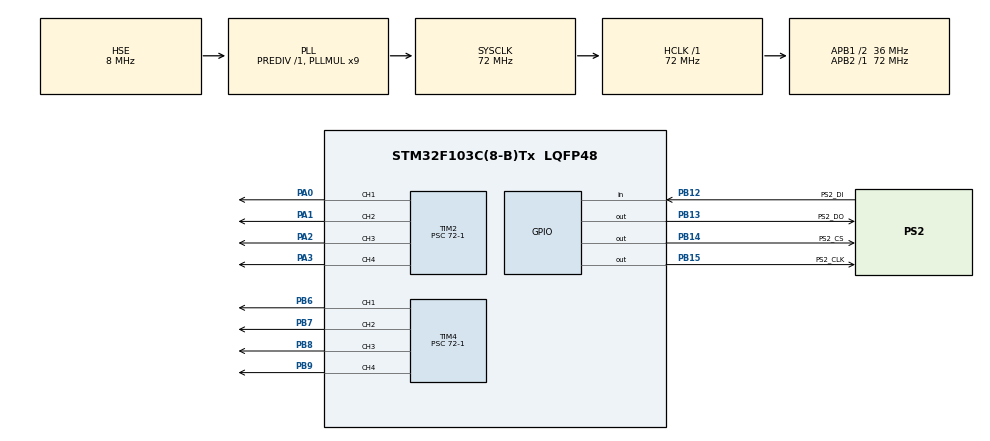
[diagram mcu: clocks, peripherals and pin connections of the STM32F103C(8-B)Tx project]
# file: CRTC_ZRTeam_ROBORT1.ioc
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Mcu.Family=STM32F1
Mcu.Name=STM32F103C(8-B)Tx
Mcu.Package=LQFP48
NVIC.PriorityGroup=NVIC_PRIORITYGROUP_4
PA0-WKUP.Signal=S_TIM2_CH1_ETR
PA1.Signal=S_TIM2_CH2
PA13.Mode=Serial_Wire
PA13.Signal=SYS_JTMS-SWDIO
PA14.Mode=Serial_Wire
PA14.Signal=SYS_JTCK-SWCLK
PA2.Signal=S_TIM2_CH3
PA3.Signal=S_TIM2_CH4
PB12.GPIO_Label=PS2_DI
PB12.GPIO_PuPd=GPIO_PULLUP
PB12.Signal=GPIO_Input
PB13.GPIO_Label=PS2_DO
PB13.Signal=GPIO_Output
PB14.GPIO_Label=PS2_CS
PB14.PinState=GPIO_PIN_SET
PB14.Signal=GPIO_Output
PB15.GPIO_Label=PS2_CLK
PB15.PinState=GPIO_PIN_SET
PB15.Signal=GPIO_Output
PB6.Signal=S_TIM4_CH1
PB7.Signal=S_TIM4_CH2
PB8.Signal=S_TIM4_CH3
PB9.Signal=S_TIM4_CH4
PD0-OSC_IN.Mode=HSE-External-Oscillator
PD0-OSC_IN.Signal=RCC_OSC_IN
PD1-OSC_OUT.Mode=HSE-External-Oscillator
PD1-OSC_OUT.Signal=RCC_OSC_OUT
ProjectManager.HeapSize=0x200
ProjectManager.StackSize=0x400
ProjectManager.TargetToolchain=CMake
RCC.AHBFreq_Value=72000000
RCC.APB1CLKDivider=RCC_HCLK_DIV2
RCC.APB1Freq_Value=36000000
RCC.APB1TimFreq_Value=72000000
RCC.APB2Freq_Value=72000000
RCC.APB2TimFreq_Value=72000000
RCC.HCLKFreq_Value=72000000
RCC.PLLMUL=RCC_PLL_MUL9
RCC.PLLSourceVirtual=RCC_PLLSOURCE_HSE
RCC.SYSCLKFreq_VALUE=72000000
RCC.SYSCLKSource=RCC_SYSCLKSOURCE_PLLCLK
RCC.USBFreq_Value=72000000
SH.S_TIM2_CH1_ETR.0=TIM2_CH1,PWM Generation1 CH1
SH.S_TIM2_CH2.0=TIM2_CH2,PWM Generation2 CH2
SH.S_TIM2_CH3.0=TIM2_CH3,PWM Generation3 CH3
SH.S_TIM2_CH4.0=TIM2_CH4,PWM Generation4 CH4
SH.S_TIM4_CH1.0=TIM4_CH1,PWM Generation1 CH1
SH.S_TIM4_CH2.0=TIM4_CH2,PWM Generation2 CH2
SH.S_TIM4_CH3.0=TIM4_CH3,PWM Generation3 CH3
SH.S_TIM4_CH4.0=TIM4_CH4,PWM Generation4 CH4
TIM2.Channel-PWM\ Generation1\ CH1=TIM_CHANNEL_1
TIM2.Channel-PWM\ Generation2\ CH2=TIM_CHANNEL_2
TIM2.Channel-PWM\ Generation3\ CH3=TIM_CHANNEL_3
TIM2.Channel-PWM\ Generation4\ CH4=TIM_CHANNEL_4
TIM2.Prescaler=72-1
TIM4.Channel-PWM\ Generation1\ CH1=TIM_CHANNEL_1
TIM4.Channel-PWM\ Generation2\ CH2=TIM_CHANNEL_2
TIM4.Channel-PWM\ Generation3\ CH3=TIM_CHANNEL_3
TIM4.Channel-PWM\ Generation4\ CH4=TIM_CHANNEL_4
TIM4.Prescaler=72-1
VP_TIM2_VS_ClockSourceINT.Mode=Internal
VP_TIM4_VS_ClockSourceINT.Mode=Internal
board=custom

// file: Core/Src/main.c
/* USER CODE BEGIN Header */
/**
  ******************************************************************************
  * @file           : main.c
  * @brief          : Main program body
  ******************************************************************************
  * @attention
  *
  * Copyright (c) 2026 STMicroelectronics.
  * All rights reserved.
  *
  * This software is licensed under terms that can be found in the LICENSE file
  * in the root directory of this software component.
  * If no LICENSE file comes with this software, it is provided AS-IS.
  *
  ******************************************************************************
  */
/* USER CODE END Header */
#include "main.h"
#include "tim.h"
#include "gpio.h"

/* USER CODE BEGIN Includes */
#include "ps2.h"
#include "motor.h"
#include "rc.h"
#include "control.h"
#include "led.h"
#include "servo.h"
#include "watchdog.h"
/* USER CODE END Includes */

/* USER CODE BEGIN PD */
/* 诊断开关：置 1 则上电时用慢速 LED(PA8) 闪码显示"上次复位原因"（不接调试器也能看）。
 *   闪 1 次 = 只有 PINRSTF          -> 复位脚(NRST)被干扰拉低（EMI，电源没问题）
 *   闪 2 次 = PORRSTF 且无 PIN      -> 上电/欠压类（供电被切断/塌陷）
 *   闪 3 次 = PIN + SFTRSTF         -> 调试器/烧录器发起的复位（正常，不是故障）
 *   闪 4 次 = POR + PIN             -> 断电式复位（既掉电又过复位脚）
 *   闪 5 次 = 其它（未知组合）
 *   闪 6 次 = IWDGRSTF 独立看门狗   -> **程序卡死超过 1 秒**（软件问题，不是供电！）
 *   闪 7 次 = WWDG 窗口看门狗
 * 每次开机闪 BOOT_RESET_CAUSE_BLINK_ROUNDS 遍，每遍之间停 BOOT_RESET_CAUSE_BLINK_GAP_MS 毫秒；
 * ⭐ 目前为 0（已关闭）：正常使用时不闪灯、上电不额外等待。
 *    以后要排查复位原因时改成 1 即可（g_reset_cause 的锁存逻辑一直保留，调试器仍可 Watch）。 */
#define BOOT_RESET_CAUSE_BLINK  0
/* 开机闪码重复遍数（3 轮，方便数清楚） */
#define BOOT_RESET_CAUSE_BLINK_ROUNDS  3
/* 每轮之间的间隔（ms）：1.5 秒，足够分清"一组闪完"和"下一组开始" */
#define BOOT_RESET_CAUSE_BLINK_GAP_MS  1500
/* USER CODE END PD */

/* USER CODE BEGIN PV */
/* 上次复位原因（RCC->CSR 的复位标志位），调试器里 Watch 这个变量即可。
 * 0x08000000=PORRSTF 上电/欠压类  0x04000000=PINRSTF 复位脚(NRST)被拉低(干扰)
 * 0x10000000=SFTRSTF 软件复位    0x20000000=IWDGRSTF 独立看门狗
 * 上电首次通常为 0x0C000000（POR + PIN 同时置位） */
volatile uint32_t g_reset_cause;
/* USER CODE END PV */

void SystemClock_Config(void);

int main(void)
{

  /* USER CODE BEGIN 1 */
  /* 锁存"上次复位原因"再清除标志：RCC->CSR 的复位标志只能软件清，
   * 本工程其它地方都不清，所以必须在这里"先读后清"，否则上电那次 POR 标志会一直留着、
   * 后面任何复位都读不出真实原因。清完后，下一次复位的标志就会被下次启动准确捕获。 */
  g_reset_cause = (uint32_t)(RCC->CSR & 0xFE000000u);
  __HAL_RCC_CLEAR_RESET_FLAGS();
  /* USER CODE END 1 */

  /* MCU Configuration--------------------------------------------------------*/

  /* Reset of all peripherals, Initializes the Flash interface and the Systick. */
  HAL_Init();

  /* USER CODE BEGIN Init */
  Bringup_Halt(1);
  /* USER CODE END Init */

  /* Configure the system clock */
  SystemClock_Config();

  /* USER CODE BEGIN SysInit */
  Bringup_Halt(2);
  /* USER CODE END SysInit */

  /* Initialize all configured peripherals */
  MX_GPIO_Init();
  MX_TIM2_Init();
  MX_TIM4_Init();
  /* USER CODE BEGIN 2 */
  PS2_Init();
  Bringup_Halt(5);
  Motor_Init();
  Bringup_Halt(6);

  LED_Init();          // 档位指示 LED：PA8=慢 PA11=中 PA12=快
#if BOOT_RESET_CAUSE_BLINK
  {
      /* 用闪码显示上次复位原因（见 USER CODE PD 的说明） */
      uint8_t code;

      if (g_reset_cause & 0x08000000u)                                   /* POR 置位（掉电/欠压） */
          code = (g_reset_cause & 0x04000000u) ? 4u : 2u;
      else if (g_reset_cause & 0x04000000u)                              /* PIN：NRST 被拉低 */
          code = (g_reset_cause & 0x10000000u) ? 3u : 1u;
      else if (g_reset_cause & 0x10000000u)                              /* SFT：软件复位 */
          code = 3u;
      else if (g_reset_cause & 0x20000000u)                              /* IWDG：看门狗（程序卡死！） */
          code = 6u;
      else if (g_reset_cause & 0x40000000u)                              /* WWDG */
          code = 7u;
      else
          code = 5u;                                                     /* 未知/其它 */

      for (uint8_t r = 0; r < BOOT_RESET_CAUSE_BLINK_ROUNDS; r++)
      {
          LED_BlinkCode(code);
          if ((uint8_t)(r + 1u) < BOOT_RESET_CAUSE_BLINK_ROUNDS)
              HAL_Delay(BOOT_RESET_CAUSE_BLINK_GAP_MS);   // 轮间隔（最后一轮不再等）
      }
  }
#endif
  Servo_Init();        // 舵机 PWM：TIM3 (PA6/PA7/PB0/PB1)，50Hz
  Ctrl_Init();
  RC_Init();

  /* 看门狗放在所有初始化之后启动：避免 PS2_Init/自检等长流程被误判为死机。
   * 启动后主循环每轮喂一次，1 秒内没喂 -> 自动复位（重新进入安全启动）。 */
  Watchdog_Init();

  PS2_Data_t ps2;
  uint32_t last_read = 0;
  /* USER CODE END 2 */

  /* Infinite loop */
  /* USER CODE BEGIN WHILE */
  while (1)
  { // 每10ms读取一次手柄
    Watchdog_Feed();     // 喂狗：本循环远快于 1s，不会误复位

    if (HAL_GetTick() - last_read >= 10)
    {
      last_read = HAL_GetTick();

      if (PS2_ReadData(&ps2))
      {
        Ctrl_Output_t cmd;

        if (ps2.mode == 1)
        {
          /* 红灯(模拟)模式：舵机 + 底盘 */
          uint8_t enabled = RC_Feed(&ps2);          // 失联保护/安全启动

          Servo_Task(&ps2);                         // 四路机械臂：MG995 看右摇杆Y，其余看按键

          if (Ctrl_Update(&ps2, enabled, &cmd))
          {
            if (cmd.brake)
              Motor_BrakeAll();                     // START：真刹车
            else
#if MOTOR_SLEW_ENABLE
              Mecanum_MoveLimitSlew(cmd.vx, cmd.vy, cmd.vw, cmd.limit);  // 软启动 + 档位限幅
#else
              Mecanum_MoveLimit(cmd.vx, cmd.vy, cmd.vw, cmd.limit);      // 按档位限幅
#endif
          }
          else
          {
            Motor_StopAll();
          }

          LED_SetGear(cmd.gear);                    // 档位指示
        }
        else
        {
          /* 掉出模拟模式（绿灯）：驱动会自动重发配置把它拉回红灯模式；
             这里停车并强制重新安全启动，避免拉回瞬间窜车 */
          Servo_Task(&ps2);
          Motor_StopAll();
          RC_ForceReArm();

          (void)Ctrl_Update(&ps2, 0, &cmd);         // 仅为刷新档位显示
          LED_SetGear(cmd.gear);
        }
      }
      else
      {
        /* 通信失败：停车并强制重新安全启动 */
        Motor_StopAll();
        RC_ForceReArm();
      }
    }
    /* USER CODE END WHILE */

  }
}

void SystemClock_Config(void)
{
  RCC_OscInitTypeDef RCC_OscInitStruct = {0};
  RCC_ClkInitTypeDef RCC_ClkInitStruct = {0};

  /** Initializes the RCC Oscillators according to the specified parameters
  * in the RCC_OscInitTypeDef structure.
  */
  RCC_OscInitStruct.OscillatorType = RCC_OSCILLATORTYPE_HSE;
  RCC_OscInitStruct.HSEState = RCC_HSE_ON;
  RCC_OscInitStruct.HSEPredivValue = RCC_HSE_PREDIV_DIV1;
  RCC_OscInitStruct.HSIState = RCC_HSI_ON;
  RCC_OscInitStruct.PLL.PLLState = RCC_PLL_ON;
  RCC_OscInitStruct.PLL.PLLSource = RCC_PLLSOURCE_HSE;
  RCC_OscInitStruct.PLL.PLLMUL = RCC_PLL_MUL9;
  if (HAL_RCC_OscConfig(&RCC_OscInitStruct) != HAL_OK)
  {
    Error_Handler();
  }

  /** Initializes the CPU, AHB and APB buses clocks
  */
  RCC_ClkInitStruct.ClockType = RCC_CLOCKTYPE_HCLK|RCC_CLOCKTYPE_SYSCLK
                              |RCC_CLOCKTYPE_PCLK1|RCC_CLOCKTYPE_PCLK2;
  RCC_ClkInitStruct.SYSCLKSource = RCC_SYSCLKSOURCE_PLLCLK;
  RCC_ClkInitStruct.AHBCLKDivider = RCC_SYSCLK_DIV1;
  RCC_ClkInitStruct.APB1CLKDivider = RCC_HCLK_DIV2;
  RCC_ClkInitStruct.APB2CLKDivider = RCC_HCLK_DIV1;

  if (HAL_RCC_ClockConfig(&RCC_ClkInitStruct, FLASH_LATENCY_2) != HAL_OK)
  {
    Error_Handler();
  }
}

/* USER CODE BEGIN 4 */
// 启动分步停机：当 level == BRINGUP_HALT_LEVEL 时停机（关中断死循环），
// 用于观察"走到哪一步开始把电源拉垮"。正常使用请把 BRINGUP_HALT_LEVEL 保持为 0。
void Bringup_Halt(uint8_t level)
{
  if (level != BRINGUP_HALT_LEVEL)
  {
    return;
  }
  __disable_irq();
  while (1)
  {
  }
}
/* USER CODE END 4 */

void Error_Handler(void)
{
  __disable_irq();
  while (1)
  {
  }
}
